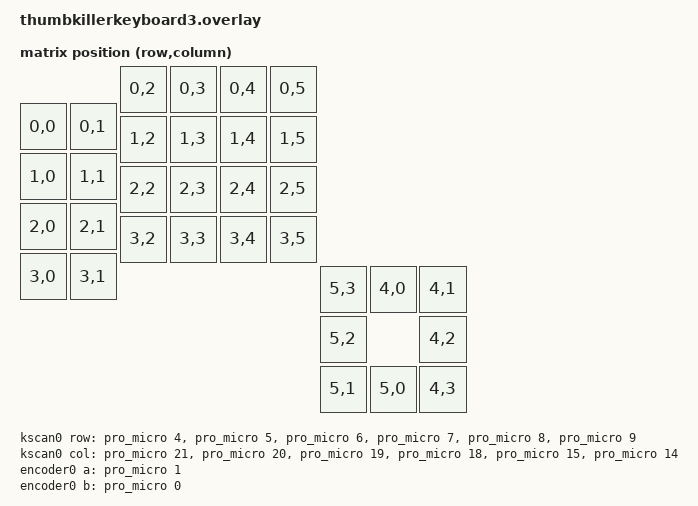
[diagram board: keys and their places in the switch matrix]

#include <dt-bindings/zmk/matrix_transform.h>
#include <dt-bindings/zmk/input_transform.h>
#include <physical_layouts.dtsi>
#include <input/processors.dtsi>

/ {
    chosen {
        zmk,kscan = &kscan0;
        zmk,physical-layout = &thumbkillerkeyboard3_layout;
    };

    kscan0: kscan {
        compatible = "zmk,kscan-gpio-matrix";
        diode-direction = "col2row";
        wakeup-source;

        /* QMK cols: F4, F5, F6, F7, B1, B3 */
        col-gpios
            = <&pro_micro 21 GPIO_ACTIVE_HIGH>
            , <&pro_micro 20 GPIO_ACTIVE_HIGH>
            , <&pro_micro 19 GPIO_ACTIVE_HIGH>
            , <&pro_micro 18 GPIO_ACTIVE_HIGH>
            , <&pro_micro 15 GPIO_ACTIVE_HIGH>
            , <&pro_micro 14 GPIO_ACTIVE_HIGH>
            ;

        /* QMK rows: D4, C6, D7, E6, B4, B5 */
        row-gpios
            = <&pro_micro 4 (GPIO_ACTIVE_HIGH | GPIO_PULL_DOWN)>
            , <&pro_micro 5 (GPIO_ACTIVE_HIGH | GPIO_PULL_DOWN)>
            , <&pro_micro 6 (GPIO_ACTIVE_HIGH | GPIO_PULL_DOWN)>
            , <&pro_micro 7 (GPIO_ACTIVE_HIGH | GPIO_PULL_DOWN)>
            , <&pro_micro 8 (GPIO_ACTIVE_HIGH | GPIO_PULL_DOWN)>
            , <&pro_micro 9 (GPIO_ACTIVE_HIGH | GPIO_PULL_DOWN)>
            ;
    };

    default_transform: keymap_transform {
        compatible = "zmk,matrix-transform";
        rows = <6>;
        columns = <6>;
        map = <
            RC(0,0) RC(0,1) RC(0,2) RC(0,3) RC(0,4) RC(0,5)
            RC(1,0) RC(1,1) RC(1,2) RC(1,3) RC(1,4) RC(1,5)
            RC(2,0) RC(2,1) RC(2,2) RC(2,3) RC(2,4) RC(2,5)
            RC(3,0) RC(3,1) RC(3,2) RC(3,3) RC(3,4) RC(3,5)
            RC(4,0) RC(4,1) RC(4,2) RC(4,3)
            RC(5,0) RC(5,1) RC(5,2) RC(5,3)
        >;
    };

    thumbkillerkeyboard3_layout: thumbkillerkeyboard3_layout {
        compatible = "zmk,physical-layout";
        display-name = "ThumbKillerKeyboard";
        kscan = <&kscan0>;
        transform = <&default_transform>;
        keys
            = <&key_physical_attrs 100 100    0   75 0 0 0>
            , <&key_physical_attrs 100 100  100   75 0 0 0>
            , <&key_physical_attrs 100 100  200    0 0 0 0>
            , <&key_physical_attrs 100 100  300    0 0 0 0>
            , <&key_physical_attrs 100 100  400    0 0 0 0>
            , <&key_physical_attrs 100 100  500    0 0 0 0>
            , <&key_physical_attrs 100 100    0  175 0 0 0>
            , <&key_physical_attrs 100 100  100  175 0 0 0>
            , <&key_physical_attrs 100 100  200  100 0 0 0>
            , <&key_physical_attrs 100 100  300  100 0 0 0>
            , <&key_physical_attrs 100 100  400  100 0 0 0>
            , <&key_physical_attrs 100 100  500  100 0 0 0>
            , <&key_physical_attrs 100 100    0  275 0 0 0>
            , <&key_physical_attrs 100 100  100  275 0 0 0>
            , <&key_physical_attrs 100 100  200  200 0 0 0>
            , <&key_physical_attrs 100 100  300  200 0 0 0>
            , <&key_physical_attrs 100 100  400  200 0 0 0>
            , <&key_physical_attrs 100 100  500  200 0 0 0>
            , <&key_physical_attrs 100 100    0  375 0 0 0>
            , <&key_physical_attrs 100 100  100  375 0 0 0>
            , <&key_physical_attrs 100 100  200  300 0 0 0>
            , <&key_physical_attrs 100 100  300  300 0 0 0>
            , <&key_physical_attrs 100 100  400  300 0 0 0>
            , <&key_physical_attrs 100 100  500  300 0 0 0>
            , <&key_physical_attrs 100 100  700  400 0 0 0>
            , <&key_physical_attrs 100 100  800  400 0 0 0>
            , <&key_physical_attrs 100 100  800  500 0 0 0>
            , <&key_physical_attrs 100 100  800  600 0 0 0>
            , <&key_physical_attrs 100 100  700  600 0 0 0>
            , <&key_physical_attrs 100 100  600  600 0 0 0>
            , <&key_physical_attrs 100 100  600  500 0 0 0>
            , <&key_physical_attrs 100 100  600  400 0 0 0>
            ;
    };

    encoder0: encoder {
        compatible = "alps,ec11";
        a-gpios = <&pro_micro 1 (GPIO_ACTIVE_HIGH | GPIO_PULL_UP)>;
        b-gpios = <&pro_micro 0 (GPIO_ACTIVE_HIGH | GPIO_PULL_UP)>;
        steps = <80>;
        status = "okay";
    };

    sensors: sensors {
        compatible = "zmk,keymap-sensors";
        status = "okay";
        sensors = <&encoder0>;
        triggers-per-rotation = <40>;
    };

};
